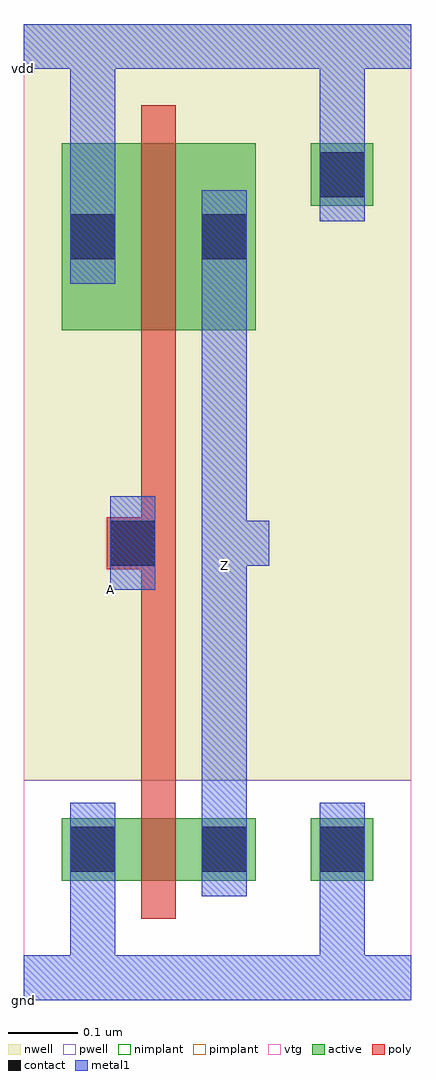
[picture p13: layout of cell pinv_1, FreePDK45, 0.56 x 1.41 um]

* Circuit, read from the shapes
.subckt pinv_1 A Z gnd vdd
M1 Z A gnd gnd nfet w=0.09u l=0.05u
M2 Z A vdd vdd pfet w=0.27u l=0.05u
.ends

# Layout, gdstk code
import gdstk
lib = gdstk.Library(unit=1e-6, precision=5e-10)
def R(c, l, rs):  # rectangles x0, y0, x1, y1
    for r in rs: c.add(gdstk.rectangle(r[:2], r[2:], *l))
active = (1, 0)
pwell = (2, 0)
nwell = (3, 0)
nimplant = (4, 0)
pimplant = (5, 0)
vtg = (6, 0)
poly = (9, 0)
contact = (10, 0)
metal1 = (11, 0)

active_contact_metal1_1x = lib.new_cell('active_contact_metal1_1x1_pn')
R(active_contact_metal1_1x, active, [(0,0.0225,0.09,0.1125), (0,0.0225,0.09,0.1125)])
R(active_contact_metal1_1x, nwell, [(-0.055,-0.0325,0.145,0.1675), (-0.055,-0.0325,0.145,0.1675)])
R(active_contact_metal1_1x, pimplant, [(0,0.0225,0.09,0.1125), (0,0.0225,0.09,0.1125)])
R(active_contact_metal1_1x, contact, [(0.0125,0.035,0.0775,0.1), (0.0125,0.035,0.0775,0.1)])
R(active_contact_metal1_1x, metal1, [(0.0125,0,0.0775,0.135), (0.0125,0,0.0775,0.135)])

pmos_m1_w0_27_a_p = lib.new_cell('pmos_m1_w0_27_a_p')
R(pmos_m1_w0_27_a_p, active, [(0,0,0.28,0.27), (0,0,0.28,0.27)])
R(pmos_m1_w0_27_a_p, nwell, [(-0.055,-0.055,0.335,0.325), (-0.055,-0.055,0.335,0.325)])
R(pmos_m1_w0_27_a_p, pimplant, [(0,0,0.28,0.27), (0,0,0.28,0.27)])
R(pmos_m1_w0_27_a_p, vtg, [(-0.055,-0.055,0.335,0.325), (-0.055,-0.055,0.335,0.325)])
R(pmos_m1_w0_27_a_p, poly, [(0.115,-0.055,0.165,0.325), (0.115,-0.055,0.165,0.325), (0.115,-0.055,0.165,0.325), (0.115,-0.055,0.165,0.325)])
R(pmos_m1_w0_27_a_p, metal1, [(0.0125,0.0675,0.0775,0.2025), (0.0125,0.0675,0.0775,0.2025), (0.2025,0.0675,0.2675,0.2025), (0.2025,0.0675,0.2675,0.2025)])
pmos_m1_w0_27_a_p.add(gdstk.Reference(active_contact_metal1_1x, (0,0.0675)))
pmos_m1_w0_27_a_p.add(gdstk.Reference(active_contact_metal1_1x, (0.19,0.0675)))
pmos_m1_w0_27_a_p.add(gdstk.Reference(active_contact_metal1_1x, (0,0.0675)))
pmos_m1_w0_27_a_p.add(gdstk.Reference(active_contact_metal1_1x, (0.19,0.0675)))
pmos_m1_w0_27_a_p.add(gdstk.Label('S', (0.0125,0.0675), layer=11, texttype=0))
pmos_m1_w0_27_a_p.add(gdstk.Label('D', (0.2025,0.0675), layer=11, texttype=0))
pmos_m1_w0_27_a_p.add(gdstk.Label('G', (0.115,-0.055), layer=9, texttype=0))
pmos_m1_w0_27_a_p.add(gdstk.Label('S', (0.0125,0.0675), layer=11, texttype=0))
pmos_m1_w0_27_a_p.add(gdstk.Label('D', (0.2025,0.0675), layer=11, texttype=0))
pmos_m1_w0_27_a_p.add(gdstk.Label('G', (0.115,-0.055), layer=9, texttype=0))

c_active_contact_metal1_1x = lib.new_cell('active_contact_metal1_1x1_np')
R(c_active_contact_metal1_1x, active, [(0,0.0225,0.09,0.1125)])
R(c_active_contact_metal1_1x, pwell, [(-0.055,-0.0325,0.145,0.1675)])
R(c_active_contact_metal1_1x, nimplant, [(0,0.0225,0.09,0.1125)])
R(c_active_contact_metal1_1x, contact, [(0.0125,0.035,0.0775,0.1)])
R(c_active_contact_metal1_1x, metal1, [(0.0125,0,0.0775,0.135)])

nmos_m1_w0_09_a_p = lib.new_cell('nmos_m1_w0_09_a_p')
R(nmos_m1_w0_09_a_p, active, [(0,0,0.28,0.09), (0,0,0.28,0.09)])
R(nmos_m1_w0_09_a_p, pwell, [(-0.055,-0.055,0.335,0.145), (-0.055,-0.055,0.335,0.145)])
R(nmos_m1_w0_09_a_p, nimplant, [(0,0,0.28,0.09), (0,0,0.28,0.09)])
R(nmos_m1_w0_09_a_p, vtg, [(-0.055,-0.055,0.335,0.145), (-0.055,-0.055,0.335,0.145)])
R(nmos_m1_w0_09_a_p, poly, [(0.115,-0.055,0.165,0.145), (0.115,-0.055,0.165,0.145), (0.115,-0.055,0.165,0.145), (0.115,-0.055,0.165,0.145)])
R(nmos_m1_w0_09_a_p, metal1, [(0.0125,-0.0225,0.0775,0.1125), (0.0125,-0.0225,0.0775,0.1125), (0.2025,-0.0225,0.2675,0.1125), (0.2025,-0.0225,0.2675,0.1125)])
nmos_m1_w0_09_a_p.add(gdstk.Reference(c_active_contact_metal1_1x, (0,-0.0225)))
nmos_m1_w0_09_a_p.add(gdstk.Reference(c_active_contact_metal1_1x, (0.19,-0.0225)))
nmos_m1_w0_09_a_p.add(gdstk.Reference(c_active_contact_metal1_1x, (0,-0.0225)))
nmos_m1_w0_09_a_p.add(gdstk.Reference(c_active_contact_metal1_1x, (0.19,-0.0225)))
nmos_m1_w0_09_a_p.add(gdstk.Label('S', (0.0125,-0.0225), layer=11, texttype=0))
nmos_m1_w0_09_a_p.add(gdstk.Label('D', (0.2025,-0.0225), layer=11, texttype=0))
nmos_m1_w0_09_a_p.add(gdstk.Label('G', (0.115,-0.055), layer=9, texttype=0))
nmos_m1_w0_09_a_p.add(gdstk.Label('S', (0.0125,-0.0225), layer=11, texttype=0))
nmos_m1_w0_09_a_p.add(gdstk.Label('D', (0.2025,-0.0225), layer=11, texttype=0))
nmos_m1_w0_09_a_p.add(gdstk.Label('G', (0.115,-0.055), layer=9, texttype=0))

c_active_contact_metal1_1x_ = lib.new_cell('active_contact_metal1_1x1_nn')
R(c_active_contact_metal1_1x_, active, [(0,0.0225,0.09,0.1125), (0,0.0225,0.09,0.1125)])
R(c_active_contact_metal1_1x_, nwell, [(-0.055,-0.0325,0.145,0.1675), (-0.055,-0.0325,0.145,0.1675)])
R(c_active_contact_metal1_1x_, nimplant, [(0,0.0225,0.09,0.1125), (0,0.0225,0.09,0.1125)])
R(c_active_contact_metal1_1x_, contact, [(0.0125,0.035,0.0775,0.1), (0.0125,0.035,0.0775,0.1)])
R(c_active_contact_metal1_1x_, metal1, [(0.0125,0,0.0775,0.135), (0.0125,0,0.0775,0.135)])

c_active_contact_metal1_1x__ = lib.new_cell('active_contact_metal1_1x1_pp')
R(c_active_contact_metal1_1x__, active, [(0,0.0225,0.09,0.1125)])
R(c_active_contact_metal1_1x__, pwell, [(-0.055,-0.0325,0.145,0.1675)])
R(c_active_contact_metal1_1x__, pimplant, [(0,0.0225,0.09,0.1125)])
R(c_active_contact_metal1_1x__, contact, [(0.0125,0.035,0.0775,0.1)])
R(c_active_contact_metal1_1x__, metal1, [(0.0125,0,0.0775,0.135)])

poly_contact_metal1_1x1 = lib.new_cell('poly_contact_metal1_1x1')
R(poly_contact_metal1_1x1, poly, [(0,0.03,0.075,0.105), (0,0.03,0.075,0.105)])
R(poly_contact_metal1_1x1, contact, [(0.005,0.035,0.07,0.1), (0.005,0.035,0.07,0.1)])
R(poly_contact_metal1_1x1, metal1, [(0.005,0,0.07,0.135), (0.005,0,0.07,0.135)])

pinv_1 = lib.new_cell('pinv_1')
R(pinv_1, pwell, [(0,-0.0325,0.56,0.285)])
R(pinv_1, nwell, [(0,0.285,0.56,1.3775)])
R(pinv_1, vtg, [(0,-0.0325,0.56,0.285), (0,0.285,0.56,1.3775)])
R(pinv_1, poly, [(0.17,0.085,0.22,0.88), (0.1575,0.59,0.17,0.665)])
R(pinv_1, metal1, [(0,-0.0325,0.56,0.0325), (0.0675,-0.0325,0.1325,0.1175), (0.4275,0,0.4925,0.185), (0.2575,0.1175,0.3225,1.0025), (0.125,0.56,0.19,0.695), (0.29,0.595,0.355,0.66), (0.0675,1.0025,0.1325,1.3775), (0.4275,1.16,0.4925,1.345), (0,1.3125,0.56,1.3775)])
pinv_1.add(gdstk.Reference(pmos_m1_w0_27_a_p, (0.055,0.935)))
pinv_1.add(gdstk.Reference(nmos_m1_w0_09_a_p, (0.055,0.14)))
pinv_1.add(gdstk.Reference(c_active_contact_metal1_1x_, (0.415,1.0925)))
pinv_1.add(gdstk.Reference(c_active_contact_metal1_1x__, (0.415,0.1175)))
pinv_1.add(gdstk.Reference(poly_contact_metal1_1x1, (0.12,0.56)))
pinv_1.add(gdstk.Label('A', (0.125,0.56), layer=11, texttype=0))
pinv_1.add(gdstk.Label('Z', (0.29,0.595), layer=11, texttype=0))
pinv_1.add(gdstk.Label('vdd', (0,1.3125), layer=11, texttype=0))
pinv_1.add(gdstk.Label('gnd', (0,-0.0325), layer=11, texttype=0))

lib.write_gds('pinv_1.gds')
